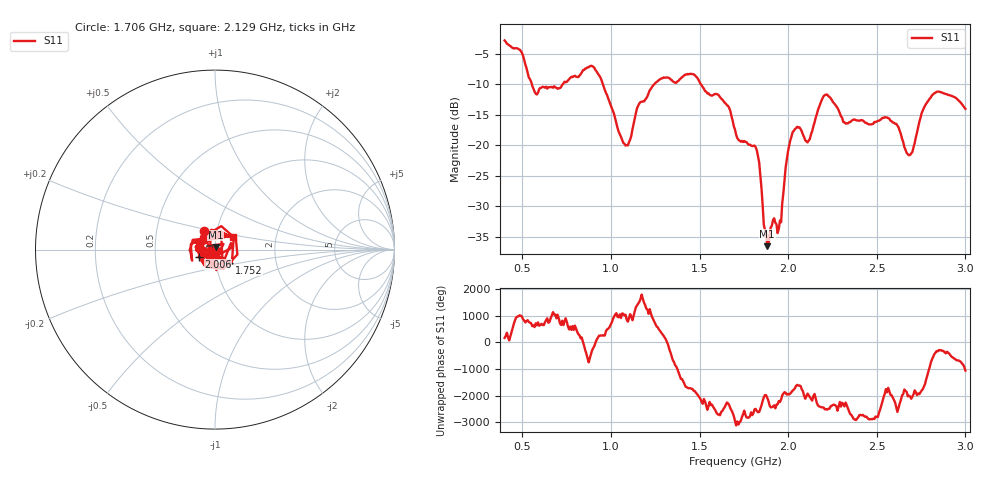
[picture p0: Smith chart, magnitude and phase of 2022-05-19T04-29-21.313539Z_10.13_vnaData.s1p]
!Created with skrf (http://scikit-rf.org).
# Hz S RI R 50.0
!freq ReS11 ImS11
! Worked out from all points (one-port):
!   401 points, 400 MHz to 3 GHz, reference 50 ohm
!   lowest |S11| = -36.5 dB at 1.882 GHz (marker M1), VSWR 1.03, Z = 50.3 + j1.47 ohm
!   |S11| at or under -10 dB: 553.4 MHz to 728.8 MHz (175.4 MHz wide, 27.4 % of centre); 954.1 MHz to 1.245 GHz (291.1 MHz wide, 26.5 % of centre); 1.507 GHz to end of sweep
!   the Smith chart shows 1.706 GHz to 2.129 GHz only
!   S11 on the Smith chart (normalised r, x): 1.706 GHz: 0.86, +0.18; 1.752 GHz: 1.16, -0.17; 2.006 GHz: 0.83, -0.07; 2.129 GHz: 1.21, +0.17
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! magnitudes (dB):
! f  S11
! 400 MHz  -2.8
! 491 MHz  -4.6
! 575.5 MHz  -11.6
! 725 MHz  -10.1
! 900.5 MHz  -7.2
! 1.05 GHz  -18.2
! 1.095 GHz  -20.0
! 1.154 GHz  -13.5
! 1.258 GHz  -9.6
! 1.375 GHz  -9.6
! 1.472 GHz  -8.5
! 1.655 GHz  -13.4
! 1.7 GHz  -17.4
! 1.706 GHz  -18.3
! 1.752 GHz  -19.3
! 1.823 GHz  -20.9
! 1.882 GHz  -36.5
! 1.954 GHz  -32.3
! 2.006 GHz  -20.1
! 2.025 GHz  -17.9
! 2.129 GHz  -18.2
! 2.213 GHz  -11.7
! 2.35 GHz  -16.2
! 2.558 GHz  -15.5
! 2.616 GHz  -16.8
! 2.675 GHz  -21.5
! 2.825 GHz  -11.5
! 3 GHz  -14.0
